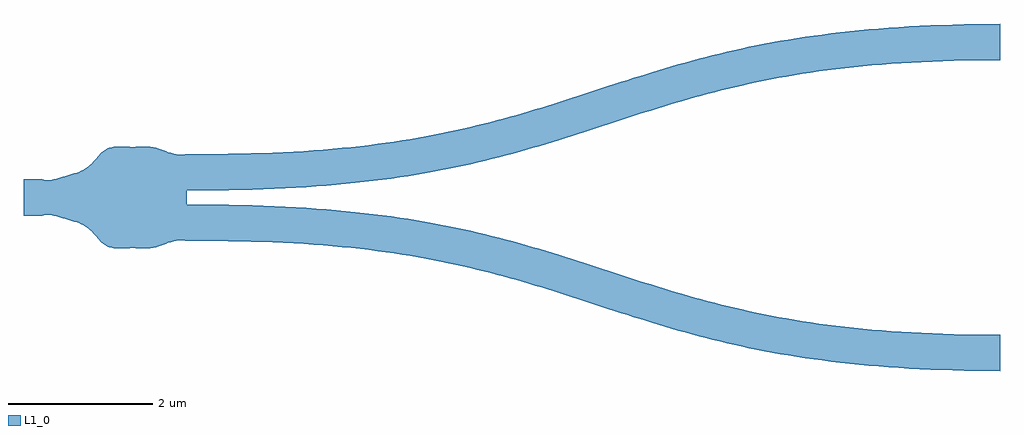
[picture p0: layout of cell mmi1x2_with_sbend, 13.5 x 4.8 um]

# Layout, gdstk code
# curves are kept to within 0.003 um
import gdstk
lib = gdstk.Library(unit=1e-6, precision=1e-09)
def R(c, l, rs):  # rectangles x0, y0, x1, y1
    for r in rs: c.add(gdstk.rectangle(r[:2], r[2:], *l))
def P(c, l, *ps):  # polygons
    for p in ps: c.add(gdstk.Polygon(p, *l))
L1_0 = (1, 0)

mmi1x2_with_sbend = lib.new_cell('mmi1x2_with_sbend')
R(mmi1x2_with_sbend, L1_0, [(2,-0.6,2.25,-0.1), (-0.25,-0.25,0,0.25), (2,0.1,2.25,0.6)])
P(mmi1x2_with_sbend, L1_0, [(2.25,0.1),(2.904,0.109),(3.651,0.143),(4.066,0.175),(4.329,0.201),(4.706,0.246),(5.063,0.297),(5.51,0.375),(5.827,0.44),(6.129,0.51),(6.513,0.608),(6.879,0.712),(7.232,0.82),(8.333,1.176),(8.85,1.334),(9.394,1.481),(9.681,1.549),(9.981,1.613),(10.405,1.691),(10.743,1.743),(11.1,1.788),(11.479,1.827),(11.882,1.858),(12.31,1.881),(12.765,1.895),(13.25,1.9),(13.25,2.4),(12.596,2.391),(11.849,2.357),(11.434,2.325),(11.171,2.299),(10.794,2.254),(10.437,2.203),(9.99,2.125),(9.673,2.06),(9.371,1.99),(8.987,1.892),(8.621,1.788),(8.268,1.68),(7.167,1.324),(6.65,1.166),(6.106,1.019),(5.819,0.951),(5.519,0.887),(5.095,0.809),(4.757,0.757),(4.4,0.712),(4.021,0.673),(3.618,0.642),(3.19,0.619),(2.735,0.605),(2.25,0.6)],
  [(2.25,-0.1),(2.904,-0.109),(3.651,-0.143),(4.066,-0.175),(4.329,-0.201),(4.706,-0.246),(5.063,-0.297),(5.51,-0.375),(5.827,-0.44),(6.129,-0.51),(6.513,-0.608),(6.879,-0.712),(7.232,-0.82),(8.333,-1.176),(8.85,-1.334),(9.394,-1.481),(9.681,-1.549),(9.981,-1.613),(10.405,-1.691),(10.743,-1.743),(11.1,-1.788),(11.479,-1.827),(11.882,-1.858),(12.31,-1.881),(12.765,-1.895),(13.25,-1.9),(13.25,-2.4),(12.596,-2.391),(11.849,-2.357),(11.434,-2.325),(11.171,-2.299),(10.794,-2.254),(10.437,-2.203),(9.99,-2.125),(9.673,-2.06),(9.371,-1.99),(8.987,-1.892),(8.621,-1.788),(8.268,-1.68),(7.167,-1.324),(6.65,-1.166),(6.106,-1.019),(5.819,-0.951),(5.519,-0.887),(5.095,-0.809),(4.757,-0.757),(4.4,-0.712),(4.021,-0.673),(3.618,-0.642),(3.19,-0.619),(2.735,-0.605),(2.25,-0.6)],
  [(0,-0.25),(0.04,-0.241),(0.081,-0.239),(0.162,-0.249),(0.465,-0.338),(0.545,-0.368),(0.606,-0.402),(0.667,-0.45),(0.788,-0.585),(0.848,-0.642),(0.909,-0.678),(0.97,-0.696),(1.051,-0.703),(1.232,-0.698),(1.434,-0.704),(1.495,-0.701),(1.576,-0.685),(1.758,-0.622),(1.838,-0.599),(1.939,-0.589),(2,-0.6),(2,0.6),(1.939,0.589),(1.838,0.599),(1.758,0.622),(1.576,0.685),(1.495,0.701),(1.434,0.704),(1.232,0.698),(1.051,0.703),(0.97,0.696),(0.909,0.678),(0.869,0.656),(0.828,0.626),(0.687,0.47),(0.646,0.432),(0.586,0.389),(0.545,0.368),(0.465,0.338),(0.162,0.249),(0.081,0.239),(0.04,0.241),(0,0.25)])

lib.write_gds('mmi1x2_with_sbend.gds')
